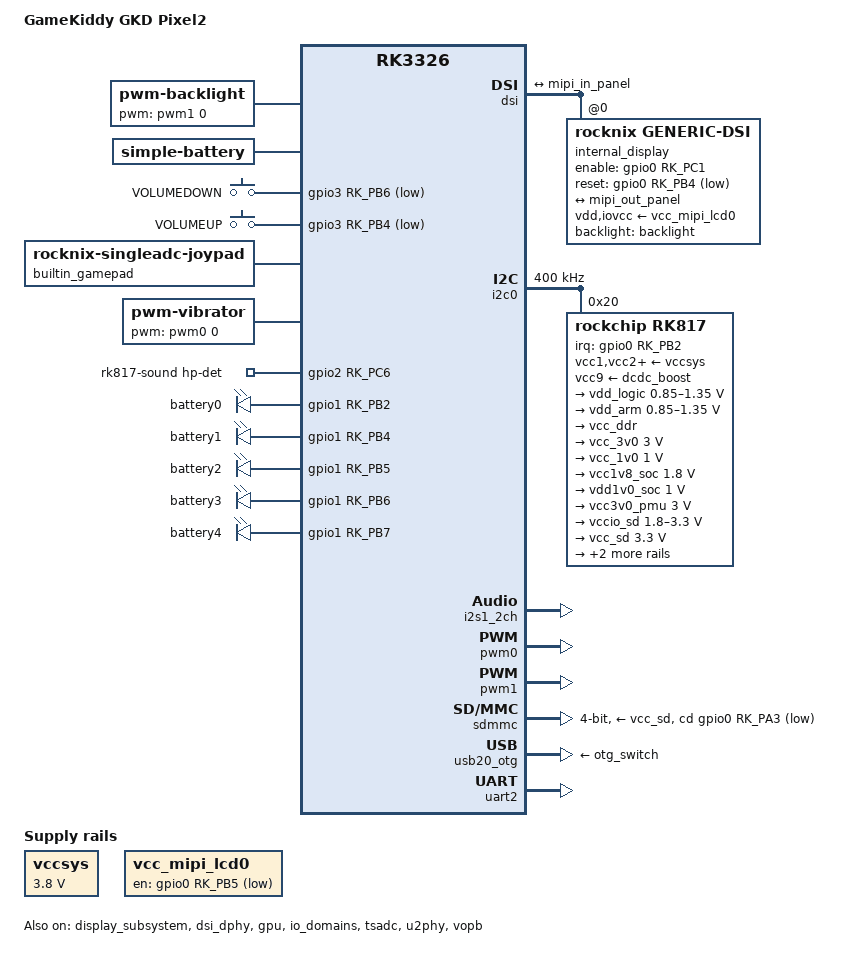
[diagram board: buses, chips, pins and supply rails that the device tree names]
// SPDX-License-Identifier: (GPL-2.0+ OR MIT)
/*
 * Copyright (c) 2024 GameKiddy
 *
 * Reconstructed from the vendor-extracted rk3326s-gkd-pixel2.dtsi into a
 * mainline/ROCKNIX-style board .dts on top of the shared rk3326.dtsi,
 * mirroring the other standalone RK3326 boards in this tree (e.g.
 * rk3326-gameforce-chi.dts).
 *
 * No analog sticks - every input is a plain GPIO switch - so the gamepad
 * uses rocknix-singleadc-joypad with amux-count = <0>, same as the other
 * all-digital RK3326 boards (e.g. rk3326-gameconsole-r33s.dts).
 */

/dts-v1/;
#include <dt-bindings/gpio/gpio.h>
#include <dt-bindings/input/input.h>
#include <dt-bindings/leds/common.h>
#include <dt-bindings/pinctrl/rockchip.h>
#include "rk3326.dtsi"

/ {
	model = "GameKiddy GKD Pixel2";
	compatible = "gamekiddy,gkd-pixel2", "rockchip,rk3326";
	chassis-type = "handset";

	aliases {
		mmc0 = &sdmmc;
	};

	chosen {
		stdout-path = "serial2:1500000n8";
	};

	backlight: backlight {
		compatible = "pwm-backlight";
		pwms = <&pwm1 0 25000 1>;
		/*
		 * The first 17 entries (levels 0-16) are clamped to 17 instead
		 * of counting up from 0: below that, this panel's backlight
		 * circuit can't sustain visible output at all and the screen
		 * just goes dark rather than dimming further. Confirmed on
		 * hardware down to a floor of 15 on one unit and 12 on
		 * another - 17 adds a bit of margin above both for unit-to-
		 * unit variance in the backlight driver circuit we haven't
		 * sampled yet.
		 */
		brightness-levels = <
		 17  17  17  17  17  17  17  17
		 17  17  17  17  17  17  17  17
		 17  17  18  19  20  21  22  23
		 24  25  26  27  28  29  30  31
		 32  33  34  35  36  37  38  39
		 40  41  42  43  44  45  46  47
		 48  49  50  51  52  53  54  55
		 56  57  58  59  60  61  62  63
		 64  65  66  67  68  69  70  71
		 72  73  74  75  76  77  78  79
		 80  81  82  83  84  85  86  87
		 88  89  90  91  92  93  94  95
		 96  97  98  99 100 101 102 103
		104 105 106 107 108 109 110 111
		112 113 114 115 116 117 118 119
		120 121 122 123 124 125 126 127
		128 129 130 131 132 133 134 135
		136 137 138 139 140 141 142 143
		144 145 146 147 148 149 150 151
		152 153 154 155 156 157 158 159
		160 161 162 163 164 165 166 167
		168 169 170 171 172 173 174 175
		176 177 178 179 180 181 182 183
		184 185 186 187 188 189 190 191
		192 193 194 195 196 197 198 199
		200 201 202 203 204 205 206 207
		208 209 210 211 212 213 214 215
		216 217 218 219 220 221 222 223
		224 225 226 227 228 229 230 231
		232 233 234 235 236 237 238 239
		240 241 242 243 244 245 246 247
		248 249 250 251 252 253 254 255>;
		default-brightness-level = <200>;
	};

	battery: battery {
		compatible = "simple-battery";
		charge-full-design-microamp-hours = <1730000>;
		charge-term-current-microamp = <300000>;
		constant-charge-current-max-microamp = <2000000>;
		constant-charge-voltage-max-microvolt = <4350000>;
		factory-internal-resistance-micro-ohms = <111000>;
		voltage-max-design-microvolt = <4333000>;
		voltage-min-design-microvolt = <3400000>;

		ocv-capacity-celsius = <20>;
		ocv-capacity-table-0 =  <4333000 100>, <4276000 95>, <4217000 90>, <4163000 85>,
					<4107000 80>, <4062000 75>, <4011000 70>, <3967000 65>,
					<3921000 60>, <3878000 55>, <3848000 50>, <3826000 45>,
					<3805000 40>, <3790000 35>, <3776000 30>, <3754000 25>,
					<3738000 20>, <3708000 15>, <3694000 10>, <3643000 5>,
					<3444000 0>;
	};

	gpio_keys: gpio-keys {
		compatible = "gpio-keys";
		pinctrl-names = "default";
		pinctrl-0 = <&volume_gpio>;
		autorepeat;

		button-vol-down {
			gpios = <&gpio3 RK_PB6 GPIO_ACTIVE_LOW>;
			label = "VOLUMEDOWN";
			linux,code = <KEY_VOLUMEDOWN>;
		};

		button-vol-up {
			gpios = <&gpio3 RK_PB4 GPIO_ACTIVE_LOW>;
			label = "VOLUMEUP";
			linux,code = <KEY_VOLUMEUP>;
		};
	};

	builtin_gamepad: gkd-pixel2-joypad {
		compatible = "rocknix-singleadc-joypad";
		pinctrl-names = "default";
		pinctrl-0 = <&btn_pins>;
		joypad-name = "gkd_pixel2_joypad";
		joypad-vendor = <0x0001>;
		joypad-product = <0x2102>;
		joypad-revision = <0x0100>;
		status = "okay";

		/* purely digital switches - no ADC/analog stick present */
		amux-count = <0>;
		poll-interval = <10>;

		/*
		 * No rumble properties here - handled by the standalone
		 * "vibrator" node below instead of this driver's own
		 * has_rumble path (see there for why).
		 */

		button-up {
			gpios = <&gpio3 RK_PB5 GPIO_ACTIVE_LOW>;
			label = "DPAD-UP";
			linux,code = <BTN_DPAD_UP>;
		};

		button-down {
			gpios = <&gpio3 RK_PC4 GPIO_ACTIVE_LOW>;
			label = "DPAD-DOWN";
			linux,code = <BTN_DPAD_DOWN>;
		};

		button-left {
			gpios = <&gpio3 RK_PB3 GPIO_ACTIVE_LOW>;
			label = "DPAD-LEFT";
			linux,code = <BTN_DPAD_LEFT>;
		};

		button-right {
			gpios = <&gpio3 RK_PA4 GPIO_ACTIVE_LOW>;
			label = "DPAD-RIGHT";
			linux,code = <BTN_DPAD_RIGHT>;
		};

		button-a {
			gpios = <&gpio3 RK_PD1 GPIO_ACTIVE_LOW>;
			label = "SOUTH";
			linux,code = <BTN_SOUTH>;
		};

		button-b {
			gpios = <&gpio3 RK_PD2 GPIO_ACTIVE_LOW>;
			label = "EAST";
			linux,code = <BTN_EAST>;
		};

		button-x {
			gpios = <&gpio3 RK_PA5 GPIO_ACTIVE_LOW>;
			label = "NORTH";
			linux,code = <BTN_NORTH>;
		};

		button-y {
			gpios = <&gpio3 RK_PA6 GPIO_ACTIVE_LOW>;
			label = "WEST";
			linux,code = <BTN_WEST>;
		};

		button-l1 {
			gpios = <&gpio3 RK_PC0 GPIO_ACTIVE_LOW>;
			label = "TOP-LEFT";
			linux,code = <BTN_TL>;
		};

		button-r1 {
			gpios = <&gpio3 RK_PB2 GPIO_ACTIVE_LOW>;
			label = "TOP-RIGHT";
			linux,code = <BTN_TR>;
		};

		button-l2 {
			gpios = <&gpio3 RK_PC1 GPIO_ACTIVE_LOW>;
			label = "TOP-LEFT2";
			linux,code = <BTN_TL2>;
		};

		button-r2 {
			gpios = <&gpio3 RK_PC3 GPIO_ACTIVE_LOW>;
			label = "TOP-RIGHT2";
			linux,code = <BTN_TR2>;
		};

		button-select {
			gpios = <&gpio3 RK_PC2 GPIO_ACTIVE_LOW>;
			label = "SELECT";
			linux,code = <BTN_SELECT>;
		};

		button-start {
			gpios = <&gpio3 RK_PD3 GPIO_ACTIVE_LOW>;
			label = "START";
			linux,code = <BTN_START>;
		};

		button-menu {
			gpios = <&gpio3 RK_PC5 GPIO_ACTIVE_LOW>;
			label = "FUNCTION";
			linux,code = <BTN_TRIGGER_HAPPY1>;
		};
	};

	/*
	 * Rumble motor - fixed and confirmed working on real hardware.
	 *
	 * Handled via the mainline pwm-vibrator driver (CONFIG_INPUT_PWM_VIBRA=y,
	 * built into the kernel image), not rocknix-singleadc-joypad's own
	 * has_rumble path - that driver is an out-of-tree module that doesn't
	 * probe until ~10s into boot, vs. ~0.65s for pwm-vibrator on stock
	 * firmware (reference_stock_dmesg.txt). Sibling boards
	 * (rg351m/rg351v/gameforce-chi) already use this same built-in driver.
	 *
	 * Polarity matches the vendor-extracted rk3326s-gkd-pixel2.dtsi
	 * exactly, but period does not: the vendor's 200000000ns (5Hz) is
	 * unusually slow for motor PWM and produces clearly perceptible
	 * individual on/off pulses at any partial duty (confirmed on real
	 * hardware), not just a boot-time artifact - it'd affect any
	 * variable-strength rumble effect. 1000000ns (1kHz) matches sibling
	 * RK3326 boards (rg351m/rg351v) and gives smooth-feeling vibration
	 * at any strength.
	 *
	 * Polarity alone isn't sufficient to fix the stuck-on-boot bug
	 * though: pwm-vibra.c's probe does the same naive disable
	 * rocknix-singleadc-joypad originally did, so
	 * patches/linux/030-pwm-vibra-kick-stuck-boot-state.patch ports the
	 * same probe-time "kick" fix into pwm-vibra.c itself. See git history
	 * on this file for the full debugging account.
	 */
	vibrator: pwm-vibrator {
		compatible = "pwm-vibrator";
		pwms = <&pwm0 0 1000000 0>;
		pwm-names = "enable";
	};

	rk817-sound {
		compatible = "simple-audio-card";
		simple-audio-card,name = "rk817_int";
		simple-audio-card,format = "i2s";
		simple-audio-card,hp-det-gpio = <&gpio2 RK_PC6 GPIO_ACTIVE_HIGH>;
		simple-audio-card,mclk-fs = <256>;
		simple-audio-card,widgets =
			"Microphone", "Mic Jack",
			"Headphone", "Headphones",
			"Speaker", "Speaker";
		simple-audio-card,routing =
			"MICL", "Mic Jack",
			"Headphones", "HPOL",
			"Headphones", "HPOR",
			"Speaker", "SPKO";

		simple-audio-card,codec {
			sound-dai = <&rk817>;
		};

		simple-audio-card,cpu {
			sound-dai = <&i2s1_2ch>;
		};
	};

	vccsys: regulator-vccsys {
		compatible = "regulator-fixed";
		regulator-name = "vcc3v8_sys";
		regulator-always-on;
		regulator-boot-on;
		regulator-min-microvolt = <3800000>;
		regulator-max-microvolt = <3800000>;
	};

	vcc_mipi_lcd0: regulator-vcc-mipi-lcd0 {
		compatible = "regulator-fixed";
		regulator-name = "vcc_mipi_lcd0";
		gpio = <&gpio0 RK_PB5 GPIO_ACTIVE_LOW>;
		pinctrl-0 = <&vcc_mipi_lcd_n>;
		pinctrl-names = "default";
		regulator-boot-on;

		regulator-state-mem {
			regulator-off-in-suspend;
		};
	};

	leds {
		compatible = "gpio-leds";
		pinctrl-names = "default";
		pinctrl-0 = <&led_gpio>;

		led-0 {
			gpios = <&gpio1 RK_PB2 GPIO_ACTIVE_HIGH>;
			label = "battery0";
		};
		led-1 {
			gpios = <&gpio1 RK_PB4 GPIO_ACTIVE_HIGH>;
			label = "battery1";
		};
		led-2 {
			gpios = <&gpio1 RK_PB5 GPIO_ACTIVE_HIGH>;
			label = "battery2";
		};
		led-3 {
			gpios = <&gpio1 RK_PB6 GPIO_ACTIVE_HIGH>;
			label = "battery3";
		};
		led-4 {
			gpios = <&gpio1 RK_PB7 GPIO_ACTIVE_HIGH>;
			label = "battery4";
		};
	};

	/*
	 * Forwards these values to BL31 firmware via SIP calls so it can arm
	 * wake sources for PX30S's firmware-controlled deep suspend states -
	 * see 031-px30s-suspend-wakeup-config.patch and the KNOWN ISSUE
	 * comment on the rk817 node below. Values match the vendor-extracted
	 * rk3326s-gkd-pixel2.dtsi exactly.
	 */
	rockchip_suspend: rockchip-suspend {
		compatible = "rockchip,pm-px30";
		status = "okay";
		rockchip,sleep-debug-en = <0>;
		rockchip,sleep-mode-config = <132866>;
		rockchip,wakeup-config = <133>;
	};

	/*
	 * This board's own decompiled vendor devicetree wires &cpu0 to its
	 * generic cpu0_opp_table (not a PX30S-specific one) with all nine of
	 * vendor's real frequency steps - confirmed from the real, compiled
	 * vendor devicetree blob, not just the shared BSP source tree, and no
	 * vendor C code was found that ever swaps this at runtime. Mainline's
	 * own shared cpu0_opp_table in px30.dtsi only carries three of those
	 * nine steps, and is used by several *other* RK3326 boards in this
	 * tree by default - extending or replacing it directly would have
	 * silently changed their CPU/GPU behavior too, so instead this is a
	 * board-local copy, used only here. All nine CPU steps and all five
	 * GPU steps use each entry's plain (unsuffixed) opp-microvolt value,
	 * which in vendor's table always equals its own -L0 row: the safest,
	 * highest-margin bin, since mainline has no driver to parse the
	 * per-chip rockchip,bin-scaling-sel/opp-microvolt-Lx AVS selection
	 * vendor's own driver uses instead.
	 *
	 * An earlier version of this board's CPU/GPU tables used a separate,
	 * statically lower-voltage px30s_cpu0_opp_table/px30s_gpu_opp_table
	 * pair instead (ported from the vendor BSP's PX30S-suffixed tables).
	 * Real hardware testing showed the CPU overclock toggle (1416/1512MHz)
	 * then froze the system, even though this exact silicon had already
	 * run stable at 1416MHz under the *generic* table's higher 1.35V.
	 * Lower voltage being less stable than higher voltage at the same
	 * frequency doesn't fit an overvoltage theory; it fits 1512MHz itself
	 * being under-provisioned by the px30s table's lower ceiling - so
	 * this now matches the real vendor board wiring instead.
	 */
	gkd_pixel2_cpu0_opp_table: gkd-pixel2-cpu0-opp-table {
		compatible = "operating-points-v2";
		opp-shared;

		opp-408000000 {
			opp-hz = /bits/ 64 <408000000>;
			opp-microvolt = <950000 950000 1350000>;
			clock-latency-ns = <40000>;
			opp-suspend;
		};
		opp-600000000 {
			opp-hz = /bits/ 64 <600000000>;
			opp-microvolt = <950000 950000 1350000>;
			clock-latency-ns = <40000>;
		};
		opp-816000000 {
			opp-hz = /bits/ 64 <816000000>;
			opp-microvolt = <1050000 1050000 1350000>;
			clock-latency-ns = <40000>;
		};
		opp-1008000000 {
			opp-hz = /bits/ 64 <1008000000>;
			opp-microvolt = <1175000 1175000 1350000>;
			clock-latency-ns = <40000>;
		};
		opp-1200000000 {
			opp-hz = /bits/ 64 <1200000000>;
			opp-microvolt = <1300000 1300000 1350000>;
			clock-latency-ns = <40000>;
		};
		opp-1248000000 {
			opp-hz = /bits/ 64 <1248000000>;
			opp-microvolt = <1350000 1350000 1350000>;
			clock-latency-ns = <40000>;
		};
		opp-1296000000 {
			opp-hz = /bits/ 64 <1296000000>;
			opp-microvolt = <1350000 1350000 1350000>;
			clock-latency-ns = <40000>;
		};
		opp-1416000000 {
			opp-hz = /bits/ 64 <1416000000>;
			opp-microvolt = <1350000 1350000 1350000>;
			clock-latency-ns = <40000>;
			turbo-mode;
		};
		/*
		 * 1512MHz disabled: this top step can trigger a full device
		 * reset on its own, even from a fresh boot with no suspend/
		 * resume involved (confirmed by direct reproduction - a single
		 * isolated overclock/boost toggle was enough). 1416MHz remains
		 * available as the highest turbo-mode step.
		 */
		/*
		opp-1512000000 {
			opp-hz = /bits/ 64 <1512000000>;
			opp-microvolt = <1350000 1350000 1350000>;
			clock-latency-ns = <40000>;
			turbo-mode;
		};
		*/
	};

	gkd_pixel2_gpu_opp_table: gkd-pixel2-gpu-opp-table {
		compatible = "operating-points-v2";

		opp-200000000 {
			opp-hz = /bits/ 64 <200000000>;
			opp-microvolt = <950000>;
		};
		opp-300000000 {
			opp-hz = /bits/ 64 <300000000>;
			opp-microvolt = <975000>;
		};
		opp-400000000 {
			opp-hz = /bits/ 64 <400000000>;
			opp-microvolt = <1050000>;
		};
		opp-480000000 {
			opp-hz = /bits/ 64 <480000000>;
			opp-microvolt = <1125000>;
		};
		opp-520000000 {
			opp-hz = /bits/ 64 <520000000>;
			opp-microvolt = <1175000>;
		};
	};
};

&cpu0 {
	operating-points-v2 = <&gkd_pixel2_cpu0_opp_table>;
	cpu-supply = <&vdd_arm>;
};

&cpu1 {
	operating-points-v2 = <&gkd_pixel2_cpu0_opp_table>;
	cpu-supply = <&vdd_arm>;
};

&cpu2 {
	operating-points-v2 = <&gkd_pixel2_cpu0_opp_table>;
	cpu-supply = <&vdd_arm>;
};

&cpu3 {
	operating-points-v2 = <&gkd_pixel2_cpu0_opp_table>;
	cpu-supply = <&vdd_arm>;
};

&display_subsystem {
	status = "okay";
};

&dsi {
	#address-cells = <1>;
	#size-cells = <0>;
	status = "okay";

	internal_display: panel@0 {
		reg = <0>;
		/*
		 * Uses the rocknix,generic-dsi driver (already used by
		 * several other RK3326 boards, e.g. rk3326-gameconsole-
		 * eeclone.dts) with an init sequence reconstructed for this
		 * panel, rather than the previous gkd,pixel2-panel/st7701
		 * driver approach (029-gkd-pixel2-st7701-panel.patch, since
		 * removed - confirmed working on real hardware with this
		 * driver instead). vdd-supply/iovcc-supply (not VCC-supply/
		 * IOVCC-supply) are this driver's actual regulator binding
		 * names - see devm_regulator_get(dev, "vdd"/"iovcc") in
		 * panel-generic-dsi.c. reset-gpios is GPIO_ACTIVE_LOW here,
		 * matching the vendor-extracted rk3326s-gkd-pixel2.dtsi -
		 * confirmed on real hardware (screen was blank at
		 * GPIO_ACTIVE_HIGH).
		 */
		compatible = "rocknix,generic-dsi";
		panel_description =
			"G size=68,121 delays=2,1,20,120,20 format=rgb888 lanes=2 flags=0xe03",
			"M clock=25000 horizontal=480,40,10,40 vertical=640,40,10,40 default=1",
			"I seq=ff7701000013",
			"I seq=ef08",
			"I seq=ff7701000010",
			"I seq=c04f00", "I seq=c1100c", "I seq=c20114", "I seq=cc10",
			"I seq=b0000b130d10070208071f04110f282f1f",
			"I seq=b1000c130c10050208081e05131127301f",
			"I seq=ff7701000011",
			"I seq=b04d", "I seq=b14d", "I seq=b287", "I seq=b380", "I seq=b545", "I seq=b785", "I seq=b820",
			"I seq=c009", "I seq=c178", "I seq=c278",
			"I seq=d088 wait=100",
			"I seq=e0000002",
			"I seq=e104b006b005b007b0004444",
			"I seq=e22020444496a0000096a00000",
			"I seq=e300002222",
			"I seq=e44444",
			"I seq=e50c90b0a00e92b0a0088cb0a00a8eb0a0",
			"I seq=e600002222",
			"I seq=e74444",
			"I seq=e80d91b0a00f93b0a0098db0a00b8fb0a0",
			"I seq=e93600",
			"I seq=eb0000e4e4448840",
			"I seq=edc1a2bf0f6745ffffffff5476f0fb2a1c",
			"I seq=ef100d04083f1f",
			"I seq=ff7701000013",
			"I seq=e8000e",
			"I seq=ff7701000000",
			"I seq=11 wait=120",
			"I seq=ff7701000013",
			"I seq=e8000c wait=10",
			"I seq=e80000",
			"I seq=ff7701000000",
			"I seq=29 wait=50";
		backlight = <&backlight>;
		vdd-supply = <&vcc_mipi_lcd0>;
		iovcc-supply = <&vcc_mipi_lcd0>;
		enable-gpios = <&gpio0 RK_PC1 GPIO_ACTIVE_HIGH>;
		reset-gpios = <&gpio0 RK_PB4 GPIO_ACTIVE_LOW>;
		pinctrl-names = "default";
		pinctrl-0 = <&dsi0_lcd_gpio>;
		/*
		 * 90 produced an upside-down image (180 degrees off from
		 * correct) once the panel actually started displaying
		 * anything - this panel is mounted 270 degrees relative to
		 * its native portrait orientation in this chassis, not 90.
		 */
		rotation = <270>;

		port {
			mipi_in_panel: endpoint {
				remote-endpoint = <&mipi_out_panel>;
			};
		};
	};

	ports {
		mipi_out: port@1 {
			reg = <1>;
			mipi_out_panel: endpoint {
				remote-endpoint = <&mipi_in_panel>;
			};
		};
	};
};

&dsi_dphy {
	compatible = "rockchip,px30s-dsi-dphy", "rockchip,px30-dsi-dphy";
	status = "okay";
};

&gpu {
	/*
	 * See gkd_pixel2_cpu0_opp_table's comment above - same reasoning
	 * applies here: the real vendor board wires &gpu to its generic
	 * gpu_opp_table, with all five of vendor's real frequency steps
	 * (mainline's shared gpu_opp_table in px30.dtsi has only a single,
	 * non-vendor-sourced 560MHz entry, and is used by default by several
	 * other RK3326 boards in this tree, so this is a board-local copy
	 * rather than a change to that shared table).
	 */
	operating-points-v2 = <&gkd_pixel2_gpu_opp_table>;
	mali-supply = <&vdd_logic>;
	status = "okay";
};

&i2c0 {
	clock-frequency = <400000>;
	i2c-scl-falling-time-ns = <16>;
	i2c-scl-rising-time-ns = <280>;
	status = "okay";

	/*
	 * KNOWN ISSUE: device suspends correctly but never wakes (confirmed
	 * on hardware). Two fixes were tried and reverted after testing
	 * showed no change: (1) dev_pm_set_wake_irq() for the rk805-pwrkey
	 * fall_irq, and (2) a one-shot port of rockchip_pm_config.c that only
	 * forwarded rockchip,sleep-mode-config/wakeup-config once, at probe
	 * time. On PX30S the deepest sleep states are governed by ATF/BL31
	 * firmware rather than Linux.
	 *
	 * Third attempt in progress: 031-px30s-suspend-wakeup-config.patch
	 * (see the rockchip-suspend node above) additionally sends
	 * LINUX_PM_STATE via SIP on every suspend attempt through a
	 * dev_pm_ops .prepare hook, matching the vendor driver exactly -
	 * the one-shot probe-time-only port never sent this at all. NOT yet
	 * confirmed on real hardware.
	 */
	rk817: pmic@20 {
		compatible = "rockchip,rk817";
		reg = <0x20>;
		interrupt-parent = <&gpio0>;
		interrupts = <RK_PB2 IRQ_TYPE_LEVEL_LOW>;
		clock-output-names = "rk808-clkout1", "xin32k";
		clock-names = "mclk";
		clocks = <&cru SCLK_I2S1_OUT>;
		pinctrl-names = "default";
		pinctrl-0 = <&pmic_int>, <&i2s1_2ch_mclk>;
		rockchip,system-power-controller;
		wakeup-source;
		#clock-cells = <1>;
		#sound-dai-cells = <0>;

		vcc1-supply = <&vccsys>;
		vcc2-supply = <&vccsys>;
		vcc3-supply = <&vccsys>;
		vcc4-supply = <&vccsys>;
		vcc5-supply = <&vccsys>;
		vcc6-supply = <&vccsys>;
		vcc7-supply = <&vccsys>;
		vcc8-supply = <&vccsys>;
		vcc9-supply = <&dcdc_boost>;

		regulators {
			vdd_logic: DCDC_REG1 {
				regulator-name = "vdd_logic";
				regulator-min-microvolt = <850000>;
				regulator-max-microvolt = <1350000>;
				regulator-ramp-delay = <6001>;
				regulator-initial-mode = <2>;
				regulator-always-on;
				regulator-boot-on;

				regulator-state-mem {
					regulator-on-in-suspend;
					regulator-suspend-microvolt = <950000>;
				};
			};

			vdd_arm: DCDC_REG2 {
				regulator-name = "vdd_arm";
				regulator-min-microvolt = <850000>;
				regulator-max-microvolt = <1350000>;
				regulator-ramp-delay = <6001>;
				regulator-initial-mode = <2>;
				regulator-always-on;
				regulator-boot-on;

				regulator-state-mem {
					regulator-off-in-suspend;
					regulator-suspend-microvolt = <950000>;
				};
			};

			vcc_ddr: DCDC_REG3 {
				regulator-name = "vcc_ddr";
				regulator-initial-mode = <2>;
				regulator-always-on;
				regulator-boot-on;

				regulator-state-mem {
					regulator-on-in-suspend;
				};
			};

			vcc_3v0: DCDC_REG4 {
				regulator-name = "vcc_3v0";
				regulator-min-microvolt = <3000000>;
				regulator-max-microvolt = <3000000>;
				regulator-initial-mode = <2>;
				regulator-always-on;
				regulator-boot-on;

				regulator-state-mem {
					regulator-off-in-suspend;
					regulator-suspend-microvolt = <3000000>;
				};
			};

			vcc_1v0: LDO_REG1 {
				regulator-name = "vcc_1v0";
				regulator-min-microvolt = <1000000>;
				regulator-max-microvolt = <1000000>;
				regulator-always-on;
				regulator-boot-on;

				regulator-state-mem {
					regulator-off-in-suspend;
					regulator-suspend-microvolt = <1000000>;
				};
			};

			vcc1v8_soc: LDO_REG2 {
				regulator-name = "vcc1v8_soc";
				regulator-min-microvolt = <1800000>;
				regulator-max-microvolt = <1800000>;
				regulator-always-on;
				regulator-boot-on;

				regulator-state-mem {
					regulator-on-in-suspend;
					regulator-suspend-microvolt = <1800000>;
				};
			};

			vdd1v0_soc: LDO_REG3 {
				regulator-name = "vcc1v0_soc";
				regulator-min-microvolt = <1000000>;
				regulator-max-microvolt = <1000000>;
				regulator-always-on;
				regulator-boot-on;

				regulator-state-mem {
					regulator-on-in-suspend;
					regulator-suspend-microvolt = <1000000>;
				};
			};

			vcc3v0_pmu: LDO_REG4 {
				regulator-name = "vcc3v0_pmu";
				regulator-min-microvolt = <3000000>;
				regulator-max-microvolt = <3000000>;
				regulator-always-on;
				regulator-boot-on;

				regulator-state-mem {
					regulator-on-in-suspend;
					regulator-suspend-microvolt = <3000000>;
				};
			};

			vccio_sd: LDO_REG5 {
				regulator-name = "vccio_sd";
				regulator-min-microvolt = <1800000>;
				regulator-max-microvolt = <3300000>;
				regulator-always-on;
				regulator-boot-on;

				regulator-state-mem {
					regulator-off-in-suspend;
					regulator-suspend-microvolt = <3300000>;
				};
			};

			vcc_sd: LDO_REG6 {
				regulator-name = "vcc_sd";
				regulator-min-microvolt = <3300000>;
				regulator-max-microvolt = <3300000>;
				regulator-boot-on;

				regulator-state-mem {
					regulator-off-in-suspend;
					regulator-suspend-microvolt = <3300000>;
				};
			};

			dcdc_boost: BOOST {
				regulator-name = "boost";
				regulator-min-microvolt = <5000000>;
				regulator-max-microvolt = <5000000>;
				regulator-always-on;
				regulator-boot-on;

				regulator-state-mem {
					regulator-off-in-suspend;
				};
			};

			otg_switch: OTG_SWITCH {
				regulator-name = "otg_switch";

				regulator-state-mem {
					regulator-off-in-suspend;
				};
			};
		};

		rk817_charger: charger {
			rockchip,resistor-sense-micro-ohms = <10000>;
			rockchip,sleep-enter-current-microamp = <300000>;
			rockchip,sleep-filter-current-microamp = <100000>;
			monitored-battery = <&battery>;
		};

		rk817_codec: codec {
			rockchip,mic-in-differential;
		};
	};
};

&i2s1_2ch {
	status = "okay";
};

&io_domains {
	vccio1-supply = <&vcc_3v0>;
	vccio2-supply = <&vccio_sd>;
	vccio3-supply = <&vcc_3v0>;
	vccio4-supply = <&vcc_3v0>;
	vccio5-supply = <&vcc_3v0>;
	vccio6-supply = <&vcc_3v0>;
	status = "okay";
};

&pmu_io_domains {
	pmuio1-supply = <&vcc3v0_pmu>;
	pmuio2-supply = <&vcc3v0_pmu>;
	status = "okay";
};

/* pwm0 drives the rumble motor (see comment on the joypad node above). */
&pwm0 {
	status = "okay";
};

&pwm1 {
	status = "okay";
};

&sdmmc {
	bus-width = <4>;
	cap-mmc-highspeed;
	cap-sd-highspeed;
	card-detect-delay = <800>;
	cd-gpios = <&gpio0 RK_PA3 GPIO_ACTIVE_LOW>;
	disable-wp;
	sd-uhs-sdr12;
	sd-uhs-sdr25;
	sd-uhs-sdr50;
	sd-uhs-sdr104;
	vmmc-supply = <&vcc_sd>;
	vqmmc-supply = <&vccio_sd>;
	status = "okay";
};

/*
 * This board's silicon is PX30S, a distinct chip variant from plain PX30
 * (confirmed via DDR_GRF_CON1 bits[15:14] == 0b11), needing a different
 * ADC init sequence, a mandatory 4MHz clock rate, a ~2.1ms post-enable
 * settle delay, and a linear code<->temp conversion instead of a lookup
 * table - see 023-px30s-tsadc-support.patch, which adds the
 * "rockchip,px30s-tsadc" compatible used below.
 *
 * If a silent reset recurs, check the hardware rockchip,hw-tshut-temp
 * auto-reset circuit first - it sits outside Linux's control entirely.
 */
&tsadc {
	compatible = "rockchip,px30s-tsadc";
	status = "okay";
};

&u2phy {
	status = "okay";

	u2phy_host: host-port {
		status = "okay";
	};

	u2phy_otg: otg-port {
		status = "okay";
	};
};

&usb20_otg {
	/*
	 * Without this, dwc2 never enables the PMIC's otg_switch 5V boost
	 * regulator in host mode (confirmed via stock-firmware dmesg: dwc2
	 * looks up "vbus-supply" and otg_switch stays disabled with nothing
	 * to enable it) - so a plugged-in peripheral gets data lines but no
	 * bus power and never enumerates.
	 */
	vbus-supply = <&otg_switch>;
	/*
	 * px30.dtsi's shared usb-role-switch (022-usb-role-switch.patch)
	 * defaults every RK3326 board to host mode. That's been harmless
	 * elsewhere - no other board wires vbus-supply, so "default host"
	 * never actually drives VBUS. Here it does: the port permanently
	 * self-sources 5V from boot, which starves dwc2's ID/VBUS-valid
	 * detection of any real transition to notice and switch to device
	 * mode - so plugging into a charger/PC never auto-negotiates
	 * charging, only forcing gadget mode manually does. The vendor
	 * kernel never sets a default mode at all here (plain dr_mode =
	 * "otg", nothing else) and lets dwc2's own hardware ID/VBUS
	 * detection decide from a neutral starting point - drop the
	 * inherited default to match that.
	 */
	/delete-property/ role-switch-default-mode;
	status = "okay";
};

&uart2 {
	pinctrl-names = "default";
	pinctrl-0 = <&uart2m1_xfer>;
	status = "okay";
};

&vopb {
	status = "okay";
};

&vopb_mmu {
	status = "okay";
};

&pinctrl {
	btns {
		btn_pins: btn-pins {
			rockchip,pins =
				<3 RK_PB5 RK_FUNC_GPIO &pcfg_pull_up>,
				<3 RK_PC4 RK_FUNC_GPIO &pcfg_pull_up>,
				<3 RK_PB3 RK_FUNC_GPIO &pcfg_pull_up>,
				<3 RK_PA4 RK_FUNC_GPIO &pcfg_pull_up>,
				<3 RK_PD1 RK_FUNC_GPIO &pcfg_pull_up>,
				<3 RK_PD2 RK_FUNC_GPIO &pcfg_pull_up>,
				<3 RK_PA5 RK_FUNC_GPIO &pcfg_pull_up>,
				<3 RK_PA6 RK_FUNC_GPIO &pcfg_pull_up>,
				<3 RK_PC5 RK_FUNC_GPIO &pcfg_pull_up>,
				<3 RK_PD3 RK_FUNC_GPIO &pcfg_pull_up>,
				<3 RK_PC2 RK_FUNC_GPIO &pcfg_pull_up>,
				<3 RK_PC0 RK_FUNC_GPIO &pcfg_pull_up>,
				<3 RK_PB2 RK_FUNC_GPIO &pcfg_pull_up>,
				<3 RK_PC1 RK_FUNC_GPIO &pcfg_pull_up>,
				<3 RK_PC3 RK_FUNC_GPIO &pcfg_pull_up>;
		};
	};

	keys {
		volume_gpio: volume-gpio {
			rockchip,pins =
				<3 RK_PB4 RK_FUNC_GPIO &pcfg_pull_up>,
				<3 RK_PB6 RK_FUNC_GPIO &pcfg_pull_up>;
		};
	};

	headphone {
		hp_det: hp-det {
			rockchip,pins = <2 RK_PC6 RK_FUNC_GPIO &pcfg_pull_none>;
		};
	};

	led {
		led_gpio: led-gpio {
			rockchip,pins =
				<1 RK_PB2 RK_FUNC_GPIO &pcfg_pull_none>,
				<1 RK_PB4 RK_FUNC_GPIO &pcfg_pull_none>,
				<1 RK_PB5 RK_FUNC_GPIO &pcfg_pull_none>,
				<1 RK_PB6 RK_FUNC_GPIO &pcfg_pull_none>,
				<1 RK_PB7 RK_FUNC_GPIO &pcfg_pull_none>;
		};
	};

	dsi0-lcd {
		dsi0_lcd_gpio: dsi0-lcd-gpio {
			rockchip,pins =
				<0 RK_PC1 RK_FUNC_GPIO &pcfg_pull_none>,
				<0 RK_PB4 RK_FUNC_GPIO &pcfg_pull_up>;
		};
	};

	vcc-mipi-lcd {
		vcc_mipi_lcd_n: vcc-mipi-lcd-n {
			rockchip,pins = <0 RK_PB5 RK_FUNC_GPIO &pcfg_pull_none>;
		};
	};

	pmic {
		pmic_int: pmic-int {
			rockchip,pins = <0 RK_PB2 RK_FUNC_GPIO &pcfg_pull_up>;
		};

		soc_slppin_gpio: soc_slppin_gpio {
			rockchip,pins = <0 RK_PA4 RK_FUNC_GPIO &pcfg_output_low>;
		};

		soc_slppin_rst: soc_slppin_rst {
			rockchip,pins = <0 RK_PA4 2 &pcfg_pull_none>;
		};

		soc_slppin_slp: soc_slppin_slp {
			rockchip,pins = <0 RK_PA4 1 &pcfg_pull_none>;
		};
	};
};
